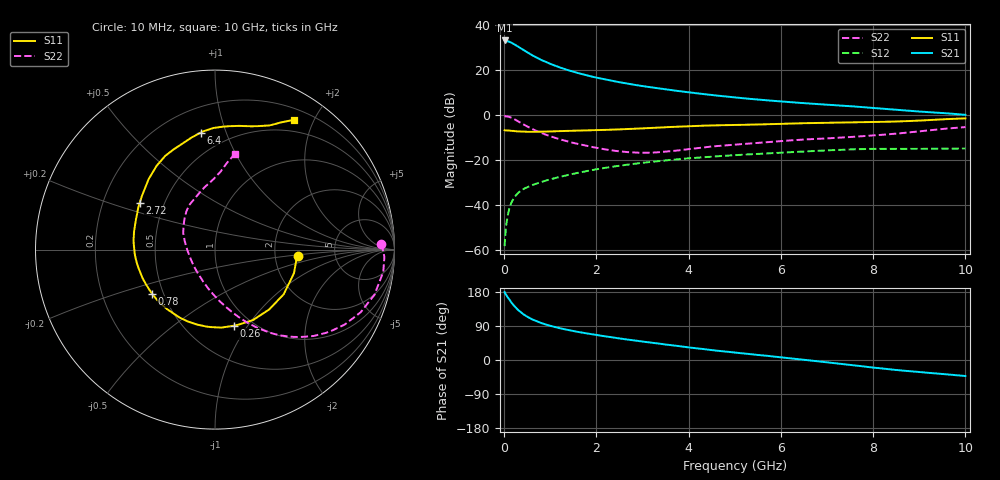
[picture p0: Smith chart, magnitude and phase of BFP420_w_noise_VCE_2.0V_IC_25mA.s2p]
! Infineon Technologies  Discrete & RF Semiconductors
! BFP420
! VCE =  2.0 V,  IC =  25 mA
! Common Emitter S-Parameters:  Jan 2016
# GHz  S  MA  R  50
!  f  S11  S21  S12  S22
! GHz  MAG  ANG  MAG  ANG  MAG  ANG  MAG  ANG
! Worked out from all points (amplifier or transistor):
!   233 points, 10 MHz to 10 GHz, reference 50 ohm
!   highest |S21| = 33.3 dB at 10 MHz (marker M1)
!   |S21| within 3 dB of that: start of sweep to 321.3 MHz
!   unconditionally stable (mu >= 1): 1.633 GHz to end of sweep
!   at 200 MHz: K = 0.27, MSG = 34.6 dB, |S12| = -37.3 dB
!   at 1.74 GHz: K = 1.02, MAG = 20.7 dB, |S12| = -25.1 dB
!   at 10 GHz: K = 1.06, MAG = 6.0 dB, |S12| = -14.9 dB
!   lowest NFmin = 1.38 dB at 900 MHz
!   S11 on the Smith chart (normalised r, x): 10 MHz: 2.69, -0.25; 260 MHz: 0.82, -0.86; 780 MHz: 0.43, -0.26; 2.72 GHz: 0.36, +0.25; 6.4 GHz: 0.36, +0.82; 10 GHz: 0.34, +1.73
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0.01  0.4619 -4.6  46.23 179.3  0.0012 111.0  0.9278 1.9
0.02  0.4569 -6.9  45.34 176.3  0.0018 94.0  0.9446 -2.4
0.05  0.4593 -16.6  44.99 170.6  0.0039 84.2  0.9458 -7.5
0.095  0.4552 -31.4  43.88 162.3  0.007 79.9  0.9248 -15.0
0.15  0.4499 -48.0  41.66 152.9  0.0107 74.2  0.8835 -23.3
0.2  0.4459 -61.6  39.14 145.2  0.0136 69.9  0.8348 -30.0
0.26  0.4368 -76.3  35.82 137.1  0.0165 65.9  0.7726 -36.9
0.3  0.436 -85.2  33.82 132.2  0.0183 63.7  0.7316 -41.1
0.4  0.4295 -103.4  29.05 122.1  0.0219 59.7  0.6379 -49.5
0.5  0.4268 -117.8  25.06 114.2  0.0248 57.4  0.5593 -56.2
0.6  0.426 -129.3  21.84 107.6  0.0274 56.1  0.496 -61.6
0.78  0.4276 -144.8  17.52 98.7  0.0317 55.2  0.411 -69.3
0.92  0.4308 -154.1  15.07 93.0  0.0351 54.9  0.3619 -74.6
1.12  0.437 -164.6  12.47 86.4  0.0399 54.7  0.3088 -81.5
1.68  0.4554 174.6  8.26 72.4  0.0539 53.1  0.2182 -100.4
2.72  0.4931 148.5  4.945 53.2  0.0798 46.0  0.1489 -142.9
3.4  0.5316 135.1  3.879 42.6  0.0957 40.0  0.1505 -174.1
5.1  0.6062 111.4  2.424 18.4  0.13 24.2  0.2239 141.1
6.4  0.6565 97.0  1.883 1.9  0.1528 12.4  0.2822 121.3
6.8  0.6704 92.8  1.764 -3.4  0.1601 8.5  0.2962 115.5
8.4  0.7161 73.6  1.343 -25.1  0.1774 -9.4  0.3789 93.6
10  0.8475 58.6  1.015 -42.2  0.1806 -21.7  0.542 78.4
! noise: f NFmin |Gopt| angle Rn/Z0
0.9  1.38  0.22  -154  0.13
1.8  1.65  0.29  -143  0.13
2.4  1.81  0.26  -138  0.17
3  1.83  0.34  -129  0.18
4  1.97  0.45  -112  0.27
5  2.4  0.49  -95  0.44
6  2.85  0.54  -84  0.65
